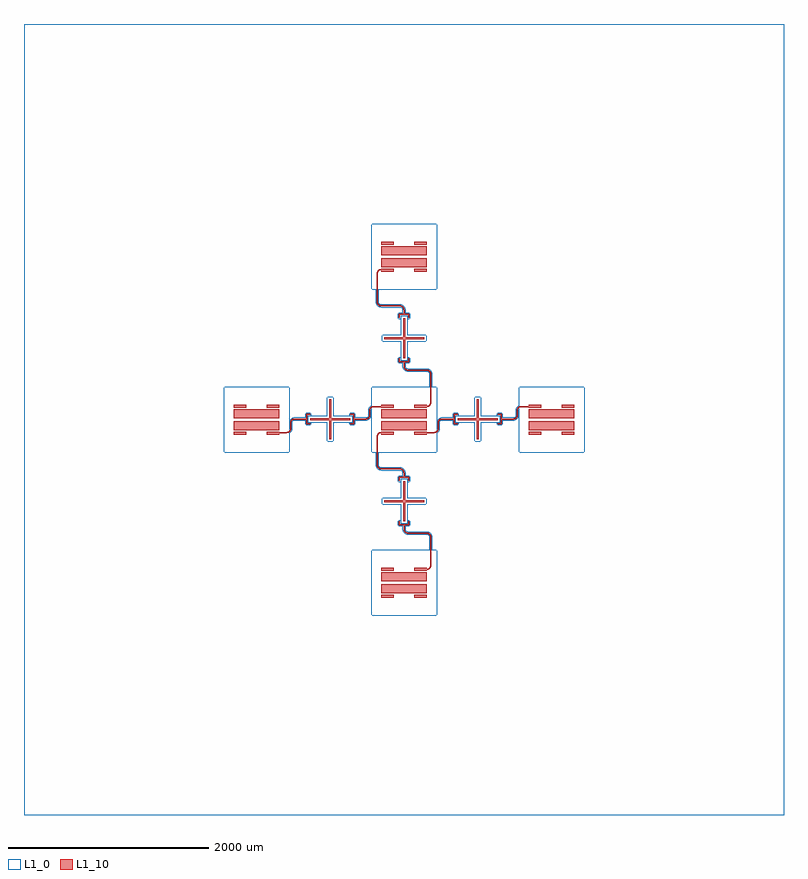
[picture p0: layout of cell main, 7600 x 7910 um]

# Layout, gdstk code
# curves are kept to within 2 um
import gdstk
lib = gdstk.Library(unit=1e-6, precision=1e-09)
def R(c, l, rs):  # rectangles x0, y0, x1, y1
    for r in rs: c.add(gdstk.rectangle(r[:2], r[2:], *l))
def A(c, l, x, y, w, h, nx, ny, dx, dy):  # array of equal rectangles
    R(c, l, [(x+i*dx, y+j*dy, x+i*dx+w, y+j*dy+h) for i in range(nx) for j in range(ny)])
def P(c, l, *ps):  # polygons
    for p in ps: c.add(gdstk.Polygon(p, *l))
L1_0 = (1, 0)
L1_10 = (1, 10)

main = lib.new_cell('main')
P(main, L1_0, [(3800,3955),(-3800,3955),(-3800,1305),(-325,1305),(-325,1955),(325,1955),(325,1305),(-256.5,1305),(-256.326,1172.97),(-246.895,1154.46),(-227.212,1147),(-39.712,1147),(-19.25,1142.605),(-2.088,1130.136),(8.518,1111.764),(11,1062),(57,1062),(57,1010),(35,1010),(35,1040),(-35,1040),(-35,1010),(-57,1010),(-57,1062),(-11,1062),(-12.434,1104.957),(-18.46,1115.395),(-28.211,1122.479),(-40.288,1125),(-232.832,1125.264),(-248.25,1129.395),(-261.636,1138.088),(-274.105,1155.25),(-278.236,1170.668),(-278.5,1305),(-3800,1305),(-3800,785),(-220,785),(-220,845),(-30,845),(-30,1035),(30,1035),(30,845),(220,845),(220,785),(30,785),(30,595),(-30,595),(-30,785),(-3800,785),(-3800,-325),(-1800,-325),(-1800,325),(-1150,325),(-1150,-109.374),(-1144.159,-95.492),(-1143.086,-22.834),(-1138.314,-9.499),(-1129.877,1.877),(-1114.22,12.339),(-1100.481,15.781),(-984.5,16),(-984.5,62),(-932.5,62),(-932.5,40),(-962.5,40),(-962.5,-25),(-957.5,-25),(-957.5,35),(-767.5,35),(-767.5,225),(-707.5,225),(-707.5,35),(-517.5,35),(-517.5,-25),(-707.5,-25),(-707.5,-52),(-542.5,-52),(-542.5,-30),(-512.5,-30),(-512.5,40),(-542.5,40),(-542.5,62),(-490.5,62),(-490.5,16),(-376.508,16.159),(-363.83,21.025),(-356.53,29.133),(-353.159,39.508),(-350.653,107.665),(-340.618,125.046),(-325,136.527),(-325,325),(256.5,325),(256.326,457.03),(246.895,475.54),(230.53,482.826),(39.73,483),(15.952,489.01),(0.566,501.638),(-8.817,519.192),(-11,568),(-57,568),(-57,620),(-35,620),(-35,590),(35,590),(35,620),(57,620),(57,568),(11,568),(12.261,525.586),(19.503,513.503),(28.907,507.22),(40.27,505),(232.833,504.736),(257.486,495.272),(271.68,479.508),(278.5,454.288),(278.5,325),(325,325),(325,-109.374),(330.841,-95.492),(332.04,-22.215),(343.382,0.046),(355.118,9.549),(374.205,15.751),(490.5,16),(490.5,62),(542.5,62),(542.5,40),(512.5,40),(512.5,-25),(517.5,-25),(517.5,35),(707.5,35),(707.5,225),(767.5,225),(767.5,35),(957.5,35),(957.5,-25),(767.5,-25),(767.5,-52),(932.5,-52),(932.5,-30),(962.5,-30),(962.5,40),(932.5,40),(932.5,62),(984.5,62),(984.5,16),(1098.492,16.159),(1111.171,21.025),(1118.47,29.133),(1121.841,39.508),(1124.347,107.665),(1134.382,125.046),(1150,136.527),(1150,325),(1800,325),(1800,-325),(1150,-325),(1150,109.374),(1144.159,95.492),(1141.653,27.335),(1131.618,9.954),(1115.381,-1.842),(1096.038,-6),(984.5,-6),(984.5,-52),(767.5,-52),(767.5,-215),(707.5,-215),(707.5,-25),(512.5,-25),(512.5,-30),(542.5,-30),(542.5,-52),(490.5,-52),(490.5,-6),(373.796,-6.588),(361.695,-12.754),(353.588,-26.795),(350.653,-107.665),(340.618,-125.046),(325,-136.527),(325,-325),(-256.5,-325),(-256.326,-457.03),(-246.895,-475.54),(-227.212,-483),(-39.712,-483),(-19.25,-487.395),(-2.088,-499.864),(8.518,-518.236),(11,-568),(57,-568),(57,-620),(35,-620),(35,-590),(-35,-590),(-35,-620),(-57,-620),(-57,-568),(-11,-568),(-12.434,-525.043),(-18.46,-514.605),(-28.211,-507.521),(-40.288,-505),(-232.832,-504.736),(-257.486,-495.272),(-271.68,-479.507),(-278.5,-454.288),(-278.5,-325),(-325,-325),(-325,109.374),(-330.841,95.492),(-333.347,27.335),(-343.382,9.954),(-359.619,-1.842),(-378.962,-6),(-490.5,-6),(-490.5,-52),(-707.5,-52),(-707.5,-215),(-767.5,-215),(-767.5,-25),(-962.5,-25),(-962.5,-30),(-932.5,-30),(-932.5,-52),(-984.5,-52),(-984.5,-6),(-1095.48,-6),(-1108.118,-9.111),(-1117.565,-17.674),(-1121.483,-27.131),(-1124.347,-107.665),(-1134.382,-125.046),(-1150,-136.527),(-1150,-325),(-3800,-325),(-3800,-845),(-220,-845),(-220,-785),(-30,-785),(-30,-595),(30,-595),(30,-785),(220,-785),(220,-845),(30,-845),(30,-1035),(-30,-1035),(-30,-845),(-3800,-845),(-3800,-1955),(-325,-1955),(-325,-1305),(256.5,-1305),(256.326,-1172.97),(246.895,-1154.46),(227.212,-1147),(39.712,-1147),(19.25,-1142.605),(2.088,-1130.136),(-8.518,-1111.765),(-11,-1062),(-57,-1062),(-57,-1010),(-35,-1010),(-35,-1040),(35,-1040),(35,-1010),(57,-1010),(57,-1062),(11,-1062),(12.434,-1104.957),(18.46,-1115.395),(28.211,-1122.479),(40.288,-1125),(232.833,-1125.264),(257.486,-1134.728),(271.68,-1150.492),(278.236,-1170.668),(278.5,-1305),(325,-1305),(325,-1955),(-3800,-1955),(-3800,-3955),(3800,-3955)])
A(main, L1_10, -1702.5, -105, 455, 90, 3, 2, 1475, 120)
R(main, L1_10, [(-227.5,-1780,-102.5,-1750), (102.5,-1780,227.5,-1750), (-227.5,-1735,227.5,-1645), (-227.5,-1615,227.5,-1525), (-227.5,-1510,-102.5,-1480), (-1702.5,-150,-1577.5,-120), (1247.5,-150,1372.5,-120), (1577.5,-150,1702.5,-120), (-1702.5,120,-1577.5,150), (-1372.5,120,-1247.5,150), (1577.5,120,1702.5,150), (102.5,1480,227.5,1510), (-227.5,1525,227.5,1615), (-227.5,1645,227.5,1735), (-227.5,1750,-102.5,1780), (102.5,1750,227.5,1780)])
P(main, L1_10, [(-41,1046),(41,1046),(41,1016),(51,1016),(51,1056),(5,1056),(5,1096),(0,1096),(4.993,1096.262),(2.804,1109.908),(-6.553,1126.116),(-17.497,1134.977),(-26.092,1138.804),(-39.869,1141),(-231.158,1141.199),(-248.069,1147.69),(-259.468,1161.767),(-262.5,1176.131),(-262.5,1459.869),(-259.468,1474.233),(-253.505,1483.415),(-244.997,1490.305),(-227.5,1494.993),(-227.5,1480),(-102.5,1480),(-102.5,1510),(-227.5,1510),(-227.5,1500),(-227.762,1504.993),(-241.408,1502.804),(-250.003,1498.977),(-260.947,1490.116),(-268.616,1478.306),(-272.26,1464.705),(-272.5,1175.869),(-268.616,1157.694),(-260.947,1145.885),(-253.954,1139.589),(-245.806,1134.884),(-232.204,1131.24),(-40.131,1131),(-25.767,1127.968),(-13.995,1119.415),(-6.72,1106.814),(-5,1095.871),(-5,1056),(-51,1056),(-51,1016),(-41,1016)],
  [(10,805),(200,805),(200,825),(10,825),(10,1015),(-10,1015),(-10,825),(-200,825),(-200,805),(-10,805),(-10,615),(10,615)],
  [(10,-825),(200,-825),(200,-805),(10,-805),(10,-615),(-10,-615),(-10,-805),(-200,-805),(-200,-825),(-10,-825),(-10,-1015),(10,-1015)],
  [(747.5,-5),(937.5,-5),(937.5,15),(747.5,15),(747.5,205),(727.5,205),(727.5,15),(537.5,15),(537.5,-5),(727.5,-5),(727.5,-195),(747.5,-195)],
  [(-727.5,-5),(-537.5,-5),(-537.5,15),(-727.5,15),(-727.5,205),(-747.5,205),(-747.5,15),(-937.5,15),(-937.5,-5),(-747.5,-5),(-747.5,-195),(-727.5,-195)],
  [(1100.167,0.225),(1108.808,2.061),(1120.588,8.064),(1129.937,17.412),(1134.354,25.063),(1137.775,37.833),(1138.712,99.454),(1144.165,111.702),(1154.128,120.673),(1170.381,125),(1247.5,125),(1247.5,120),(1372.5,120),(1372.5,150),(1247.5,150),(1247.5,135),(1165.833,134.775),(1149.122,129.345),(1136.064,117.588),(1128.917,101.536),(1128,42.381),(1125.206,29.136),(1117.325,18.289),(1102.454,10.712),(978.5,10),(978.5,56),(938.5,56),(938.5,46),(968.5,46),(968.5,-36),(938.5,-36),(938.5,-46),(978.5,-46),(978.5,0)],
  [(227.5,-1500),(227.745,-1504.994),(236.28,-1504.141),(248.716,-1499.692),(256.052,-1494.79),(267.192,-1481.216),(272.289,-1464.411),(272.5,-1175.869),(270.304,-1162.092),(266.477,-1153.497),(257.616,-1142.553),(250.003,-1137.023),(232.205,-1131.24),(40.131,-1131),(25.767,-1127.968),(13.995,-1119.415),(6.719,-1106.813),(5,-1095.871),(5,-1056),(51,-1056),(51,-1016),(41,-1016),(41,-1046),(-41,-1046),(-41,-1016),(-51,-1016),(-51,-1056),(-5,-1056),(-5,-1096),(0,-1096),(-4.993,-1096.262),(-2.804,-1109.908),(6.553,-1126.116),(21.694,-1137.116),(39.869,-1141),(231.158,-1141.199),(244.997,-1145.695),(257.805,-1158.503),(262.5,-1176.131),(262.5,-1459.877),(258.362,-1476.496),(252.245,-1484.744),(243.996,-1490.862),(227.5,-1494.994),(227.5,-1480),(102.5,-1480),(102.5,-1510),(227.5,-1510)],
  [(227.5,130),(227.762,125.007),(232.205,125.24),(245.806,128.884),(253.954,133.589),(266.477,147.497),(272.26,165.296),(272.5,454.131),(270.304,467.908),(266.477,476.503),(257.616,487.447),(250.003,492.977),(232.205,498.76),(40.123,499),(26.608,501.67),(15.255,509.255),(6.513,523.842),(5,574),(51,574),(51,614),(41,614),(41,584),(-41,584),(-41,614),(-51,614),(-51,574),(-5,574),(-5,534),(0,534),(-4.994,533.755),(-3.068,520.935),(0.308,512.784),(8.176,502.176),(22.777,492.42),(39.877,489),(231.158,488.801),(244.997,484.305),(257.805,471.497),(262.5,453.869),(262.5,170.131),(259.468,155.767),(253.505,146.585),(244.997,139.695),(227.5,135.007),(227.5,150),(102.5,150),(102.5,120),(227.5,120)],
  [(-374.833,0.225),(-366.192,2.061),(-354.412,8.064),(-347.847,13.975),(-340.646,25.063),(-337.225,37.833),(-336.289,99.454),(-330.835,111.702),(-320.872,120.673),(-304.619,125),(-227.5,125),(-227.5,120),(-102.5,120),(-102.5,150),(-227.5,150),(-227.5,135),(-309.167,134.775),(-325.878,129.345),(-338.937,117.588),(-346.083,101.536),(-347,42.381),(-349.794,29.136),(-357.675,18.289),(-372.546,10.712),(-496.5,10),(-496.5,56),(-536.5,56),(-536.5,46),(-506.5,46),(-506.5,-36),(-536.5,-36),(-536.5,-46),(-496.5,-46),(-496.5,0)],
  [(496.5,-46),(536.5,-46),(536.5,-36),(506.5,-36),(506.5,46),(536.5,46),(536.5,56),(496.5,56),(496.5,10),(374.833,9.775),(362.063,6.354),(347.847,-3.975),(340.646,-15.063),(337.225,-27.833),(336.289,-99.454),(330.835,-111.702),(320.872,-120.673),(304.619,-125),(227.5,-125),(227.5,-120),(102.5,-120),(102.5,-150),(227.5,-150),(227.5,-135),(309.167,-134.775),(325.878,-129.345),(338.937,-117.588),(346.083,-101.536),(348.585,-22.286),(357.675,-8.289),(372.546,-0.711),(496.5,0)],
  [(-41,-584),(41,-584),(41,-614),(51,-614),(51,-574),(5,-574),(5,-534),(0,-534),(4.993,-533.738),(2.804,-520.092),(-6.553,-503.884),(-17.497,-495.023),(-26.092,-491.196),(-39.869,-489),(-231.158,-488.801),(-248.069,-482.31),(-259.468,-468.233),(-262.5,-453.869),(-262.5,-170.131),(-259.468,-155.767),(-253.505,-146.585),(-244.997,-139.695),(-227.5,-135.007),(-227.5,-150),(-102.5,-150),(-102.5,-120),(-227.5,-120),(-227.5,-130),(-227.762,-125.007),(-241.408,-127.196),(-250.003,-131.023),(-260.947,-139.884),(-268.616,-151.694),(-272.26,-165.295),(-272.5,-454.131),(-268.616,-472.306),(-260.947,-484.115),(-253.954,-490.411),(-245.806,-495.116),(-232.204,-498.76),(-40.131,-499),(-25.767,-502.032),(-13.995,-510.585),(-6.72,-523.186),(-5,-534.129),(-5,-574),(-51,-574),(-51,-614),(-41,-614)],
  [(-978.5,-46),(-938.5,-46),(-938.5,-36),(-968.5,-36),(-968.5,46),(-938.5,46),(-938.5,56),(-978.5,56),(-978.5,10),(-1099.892,9.803),(-1111.921,6.79),(-1125.63,-2.37),(-1134.79,-16.079),(-1137.803,-28.108),(-1138.712,-99.454),(-1144.165,-111.702),(-1154.128,-120.673),(-1170.381,-125),(-1247.5,-125),(-1247.5,-120),(-1372.5,-120),(-1372.5,-150),(-1247.5,-150),(-1247.5,-135),(-1165.833,-134.775),(-1149.122,-129.345),(-1136.064,-117.588),(-1128.917,-101.536),(-1126.606,-22.89),(-1118.55,-9.45),(-1105.11,-1.394),(-978.5,0)])

lib.write_gds('main.gds')
